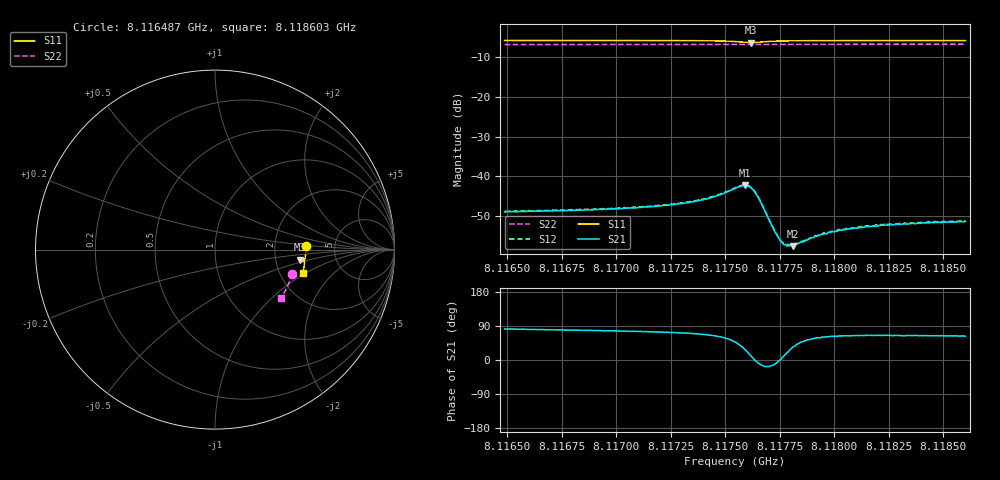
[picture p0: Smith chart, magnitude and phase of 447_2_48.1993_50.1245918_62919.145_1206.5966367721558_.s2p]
#  HZ  S  RI  R  50.00
! Rohde & Schwarz Vector Network Analyzer
! Rohde-Schwarz,ZNB20-2Port,1311601062101988,3.16
! Created: UTC 3/20/2024, 11:56:05 AM
! freq[Hz]  re:S11  im:S11  re:S21  im:S21  re:S12  im:S12  re:S22  im:S22
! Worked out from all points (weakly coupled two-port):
!   401 points, 8.116487 GHz to 8.118603 GHz, reference 50 ohm
!   highest |S21| = -42.28 dB at 8.117593 GHz (marker M1); lowest = -57.5 dB at 8.11781 GHz (marker M2)
!   lowest |S11| = -6.4 dB at 8.117619 GHz (marker M3), VSWR 2.82, Z = 138 - j19.7 ohm
!   |S11| at or under -10 dB: nowhere
!   |S22| runs from -6.9 to -6.8 dB; largest |S21 - S12| = 0.00023
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8.1164874e9  0.5067 0.0225  0.000509 0.00355  0.00058 0.00364  0.4295 -0.1341
8.1168418e9  0.5066 -0.00467  0.00076 0.00369  0.000803 0.00374  0.4226 -0.1579
8.1170533e9  0.5058 -0.0211  0.000987 0.00388  0.00101 0.0039  0.4177 -0.1718
8.1171961e9  0.5044 -0.0329  0.00116 0.00406  0.00127 0.00416  0.4142 -0.181
8.1173072e9  0.503 -0.0425  0.00147 0.00433  0.00156 0.0044  0.4112 -0.1885
8.1174076e9  0.5003 -0.0522  0.00203 0.00478  0.00206 0.00484  0.4084 -0.195
8.1174817e9  0.4962 -0.0602  0.0029 0.00516  0.00303 0.00529  0.4061 -0.1996
8.1175452e9  0.4873 -0.0663  0.00474 0.00522  0.00491 0.00529  0.4039 -0.2036
8.1175927e9  0.4761 -0.0631  0.00688 0.00345  0.00704 0.00346  0.4021 -0.2063
8.1176192e9  0.4735 -0.0553  0.00701 0.00129  0.00717 0.00126  0.4013 -0.2074
8.1176403e9  0.4766 -0.0492  0.0061 -0.000268  0.00625 -0.000306  0.4009 -0.2085
8.1176562e9  0.4807 -0.0467  0.00511 -0.000848  0.00513 -0.000986  0.4008 -0.2094
8.1177197e9  0.4937 -0.051  0.00219 -0.000517  0.00221 -0.000576  0.3994 -0.2136
8.1177514e9  0.4966 -0.0554  0.00159 -4.67e-06  0.00161 -9.81e-06  0.3986 -0.2156
8.117762e9  0.497 -0.0568  0.00149 0.000174  0.00148 0.000154  0.3982 -0.2163
8.1177779e9  0.4977 -0.0588  0.00135 0.000361  0.00136 0.00036  0.3977 -0.2175
8.1178096e9  0.4986 -0.0626  0.00111 0.00074  0.00115 0.000735  0.3968 -0.2195
8.1178995e9  0.499 -0.0721  0.000966 0.00141  0.001 0.0014  0.394 -0.2252
8.1179841e9  0.4985 -0.08  0.000925 0.00176  0.000963 0.00177  0.3912 -0.2306
8.1180634e9  0.4977 -0.0866  0.000956 0.00197  0.000971 0.00201  0.3886 -0.2354
8.1182538e9  0.4949 -0.1018  0.00102 0.00222  0.00108 0.00227  0.3819 -0.2472
8.1186029e9  0.4886 -0.1279  0.00124 0.00241  0.00122 0.00245  0.3689 -0.2678
